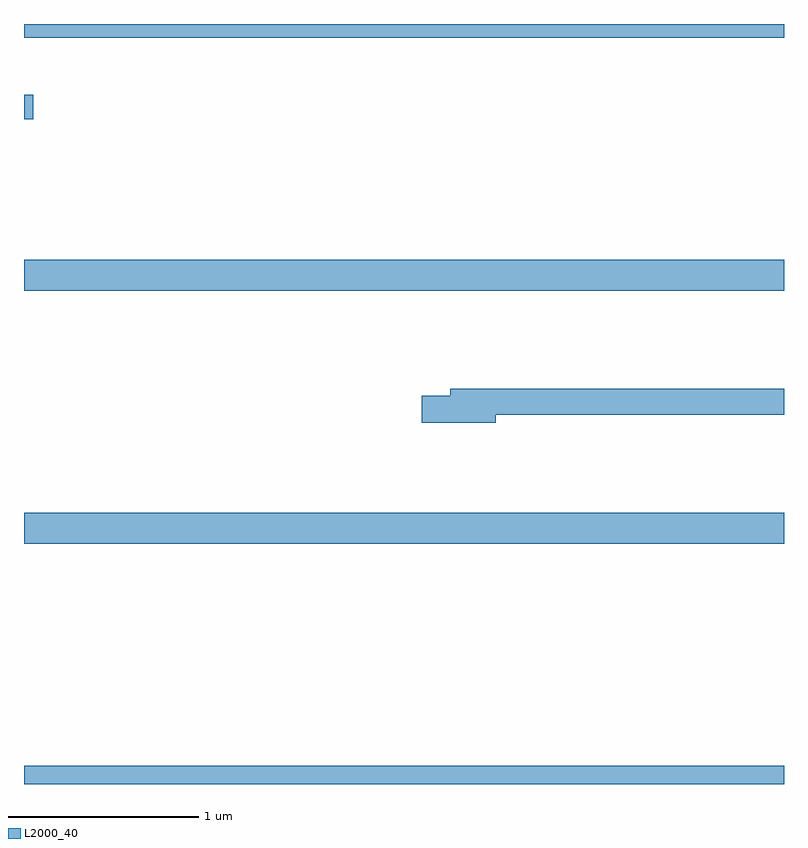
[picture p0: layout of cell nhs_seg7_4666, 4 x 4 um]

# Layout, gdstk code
import gdstk
lib = gdstk.Library(unit=1e-6, precision=1e-09)
def R(c, l, rs):  # rectangles x0, y0, x1, y1
    for r in rs: c.add(gdstk.rectangle(r[:2], r[2:], *l))
def P(c, l, *ps):  # polygons
    for p in ps: c.add(gdstk.Polygon(p, *l))
L2000_40 = (2000, 40)

nhs_seg7_4666 = lib.new_cell('nhs_seg7_4666')
R(nhs_seg7_4666, L2000_40, [(405,1018,409,1018.096), (405,1019.264,409,1019.428), (405,1020.596,409,1020.76), (405,1021.498,405.049,1021.627), (405,1021.928,409,1022)])
P(nhs_seg7_4666, L2000_40, [(407.482,1019.944),(409,1019.944),(409,1020.08),(407.243,1020.08),(407.243,1020.044),(407.094,1020.044),(407.094,1019.902),(407.482,1019.902)])

lib.write_gds('nhs_seg7_4666.gds')
